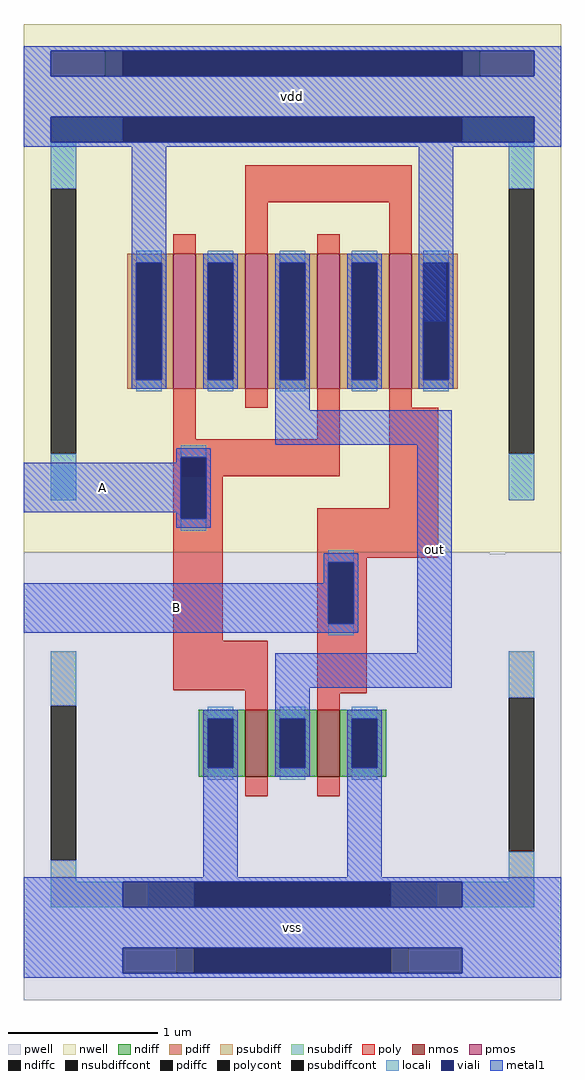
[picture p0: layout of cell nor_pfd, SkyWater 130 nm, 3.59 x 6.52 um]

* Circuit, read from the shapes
.subckt nor_pfd A B out vdd vss
XM1 out A vss vss sky130_fd_pr__nfet_01v8 w=0.45 l=0.15
XM2 vss B out vss sky130_fd_pr__nfet_01v8 w=0.45 l=0.15
XM3 n1 A vdd vdd sky130_fd_pr__pfet_01v8 w=0.9 l=0.15
XM4 out B n1 vdd sky130_fd_pr__pfet_01v8 w=0.9 l=0.15
XM5 n2 A out vdd sky130_fd_pr__pfet_01v8 w=0.9 l=0.15
XM6 vdd B n2 vdd sky130_fd_pr__pfet_01v8 w=0.9 l=0.15
.ends

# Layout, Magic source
magic
tech sky130A
magscale 1 2
<< nwell >>
rect -235 1684 483 1772
<< pwell >>
rect -235 1054 -139 1066
rect 409 1064 483 1066
rect -235 922 -131 1054
rect -235 556 -139 922
rect 387 556 483 1064
rect -235 468 483 556
<< psubdiff >>
rect -199 861 -165 934
rect -199 626 -165 655
rect 413 872 447 934
rect 413 626 447 666
rect -199 592 -23 626
rect 255 592 447 626
rect -31 504 -7 538
rect 255 504 279 538
<< nsubdiff >>
rect -127 1702 -103 1736
rect 351 1702 375 1736
<< psubdiffcont >>
rect -199 655 -165 861
rect 413 666 447 872
rect -7 504 255 538
<< nsubdiffcont >>
rect -103 1702 351 1736
<< poly >>
rect -35 1193 31 1217
rect -35 1111 -25 1193
rect 9 1111 31 1193
rect 253 1125 319 1259
rect -35 948 31 1111
rect 157 1059 319 1125
rect 157 1053 223 1059
rect 157 971 172 1053
rect 206 971 223 1053
rect -35 882 61 948
rect 157 878 223 971
<< polycont >>
rect -25 1111 9 1193
rect 172 971 206 1053
<< locali >>
rect -25 1193 9 1209
rect -25 1095 9 1111
rect 172 1053 206 1069
rect 172 955 206 971
rect -199 861 -165 934
rect -199 626 -165 655
rect 413 872 447 934
rect 413 626 447 666
rect -199 592 -103 626
rect 351 592 447 626
<< viali >>
rect -199 1702 -103 1736
rect -103 1702 351 1736
rect 351 1702 447 1736
rect -199 1614 447 1648
rect -25 1111 9 1193
rect 172 971 206 1053
rect -103 592 351 626
rect -103 504 -7 538
rect -7 504 255 538
rect 255 504 351 538
<< metal1 >>
rect -235 1736 483 1742
rect -235 1702 -199 1736
rect 447 1702 483 1736
rect -235 1648 483 1702
rect -235 1614 -199 1648
rect 447 1614 483 1648
rect -235 1608 483 1614
rect -91 1463 -45 1608
rect 293 1463 339 1608
rect 293 1375 329 1463
rect 101 1256 147 1297
rect 101 1210 337 1256
rect -31 1193 15 1205
rect -31 1186 -25 1193
rect -235 1120 -25 1186
rect -31 1111 -25 1120
rect 9 1111 15 1193
rect -31 1099 15 1111
rect 166 1053 212 1065
rect 166 1025 172 1053
rect -235 971 172 1025
rect 206 971 212 1053
rect -235 959 212 971
rect 291 931 337 1210
rect 101 885 337 931
rect 101 855 147 885
rect 5 632 51 774
rect 197 632 243 776
rect -235 626 483 632
rect -235 592 -103 626
rect 351 592 483 626
rect -235 538 483 592
rect -235 504 -103 538
rect 351 504 483 538
rect -235 498 483 504
use sky130_fd_pr__nfet_01v8_C3YG4M  sky130_fd_pr__nfet_01v8_C3YG4M_0
transform 1 0 124 0 1 811
box -263 -255 263 255
use sky130_fd_pr__pfet_01v8_4F35BC  sky130_fd_pr__pfet_01v8_4F35BC_0
transform 1 0 124 0 1 1375
box -359 -309 359 309
<< labels >>
rlabel metal1 -235 1648 483 1702 1 vdd
rlabel metal1 -235 538 483 592 1 vss
rlabel metal1 -235 1120 -25 1186 1 A
rlabel metal1 -235 959 172 1025 1 B
rlabel metal1 291 885 337 1256 1 out
<< end >>

# cell sky130_fd_pr__nfet_01v8_C3YG4M: kit device sky130_fd_pr__nfet_01v8, w 0.45 l 0.150 m 1 nf 2 diffcov 100 polycov 100 guard 1 glc 1 grc 1 gtc 0 gbc 1 tbcov 100 rlcov 100 topc 1 botc 1 poverlap 0 doverlap 1 lmin 0.15 wmin 0.42 compatible {sky130_fd_pr__nfet_01v8 sky130_fd_pr__nfet_01v8_lvt sky130_fd_bs_flash__special_sonosfet_star sky130_fd_pr__nfet_g5v0d10v5 sky130_fd_pr__nfet_05v0_nvt sky130_fd_pr__nfet_03v3_nvt} full_metal 1 viasrc 100 viadrn 100 viagate 100 viagb 0 viagr 0 viagl 0 viagt 0

# cell sky130_fd_pr__pfet_01v8_4F35BC: kit device sky130_fd_pr__pfet_01v8, w 0.9 l 0.15 m 1 nf 4 diffcov 100 polycov 100 guard 1 glc 1 grc 1 gtc 1 gbc 0 tbcov 100 rlcov 100 topc 1 botc 1 poverlap 0 doverlap 1 lmin 0.15 wmin 0.42 compatible {sky130_fd_pr__pfet_01v8 sky130_fd_pr__pfet_01v8_lvt sky130_fd_pr__pfet_01v8_hvt sky130_fd_pr__pfet_g5v0d10v5} full_metal 1 viasrc 100 viadrn 100 viagate 100 viagb 0 viagr 0 viagl 0 viagt 0
